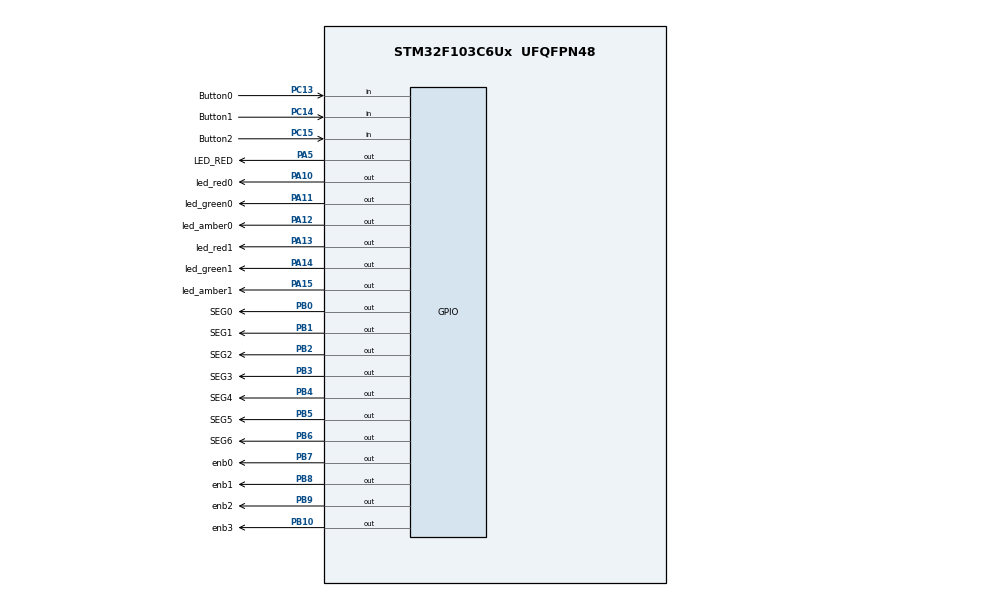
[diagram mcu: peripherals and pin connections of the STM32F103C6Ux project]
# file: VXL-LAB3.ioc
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Mcu.Family=STM32F1
Mcu.Name=STM32F103C6Ux
Mcu.Package=UFQFPN48
NVIC.PriorityGroup=NVIC_PRIORITYGROUP_4
NVIC.TIM2_IRQn=true\:0\:0\:false\:false\:true\:true\:true
PA10.GPIO_Label=led_red0
PA10.Signal=GPIO_Output
PA11.GPIO_Label=led_green0
PA11.Signal=GPIO_Output
PA12.GPIO_Label=led_amber0
PA12.Signal=GPIO_Output
PA13.GPIO_Label=led_red1
PA13.Signal=GPIO_Output
PA14.GPIO_Label=led_green1
PA14.Signal=GPIO_Output
PA15.GPIO_Label=led_amber1
PA15.Signal=GPIO_Output
PA5.GPIO_Label=LED_RED
PA5.Signal=GPIO_Output
PB0.GPIO_Label=SEG0
PB0.Signal=GPIO_Output
PB1.GPIO_Label=SEG1
PB1.Signal=GPIO_Output
PB10.GPIO_Label=enb3
PB10.Signal=GPIO_Output
PB2.GPIO_Label=SEG2
PB2.Signal=GPIO_Output
PB3.GPIO_Label=SEG3
PB3.Signal=GPIO_Output
PB4.GPIO_Label=SEG4
PB4.Signal=GPIO_Output
PB5.GPIO_Label=SEG5
PB5.Signal=GPIO_Output
PB6.GPIO_Label=SEG6
PB6.Signal=GPIO_Output
PB7.GPIO_Label=enb0
PB7.Signal=GPIO_Output
PB8.GPIO_Label=enb1
PB8.Signal=GPIO_Output
PB9.GPIO_Label=enb2
PB9.Signal=GPIO_Output
PC13-TAMPER-RTC.GPIO_Label=Button0
PC13-TAMPER-RTC.GPIO_PuPd=GPIO_PULLUP
PC13-TAMPER-RTC.Signal=GPIO_Input
PC14-OSC32_IN.GPIO_Label=Button1
PC14-OSC32_IN.GPIO_PuPd=GPIO_PULLUP
PC14-OSC32_IN.Signal=GPIO_Input
PC15-OSC32_OUT.GPIO_Label=Button2
PC15-OSC32_OUT.GPIO_PuPd=GPIO_PULLUP
PC15-OSC32_OUT.Signal=GPIO_Input
ProjectManager.HeapSize=0x200
ProjectManager.StackSize=0x400
ProjectManager.TargetToolchain=STM32CubeIDE
RCC.APB1Freq_Value=8000000
RCC.APB2Freq_Value=8000000
TIM2.Period=9
TIM2.Prescaler=7999
VP_SYS_VS_ND.Mode=No_Debug
VP_TIM2_VS_ClockSourceINT.Mode=Internal
board=custom

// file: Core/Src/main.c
/* USER CODE BEGIN Header */
/**
  ******************************************************************************
  * @file           : main.c
  * @brief          : Main program body
  ******************************************************************************
  * @attention
  *
  * <h2><center>&copy; Copyright (c) 2024 STMicroelectronics.
  * All rights reserved.</center></h2>
  *
  * This software component is licensed by ST under BSD 3-Clause license,
  * the "License"; You may not use this file except in compliance with the
  * License. You may obtain a copy of the License at:
  *                        opensource.org/licenses/BSD-3-Clause
  *
  ******************************************************************************
  */
/* USER CODE END Header */
#include "main.h"

/* USER CODE BEGIN Includes */
#include <global.h>
#include <fsm_automatic.h>
#include <fsm_manual.h>
#include <fsm_settings.h>
#include <scheduler.h>
/* USER CODE END Includes */

TIM_HandleTypeDef htim2;

void SystemClock_Config(void);
static void MX_GPIO_Init(void);
static void MX_TIM2_Init(void);

/* USER CODE BEGIN 0 */
void LEDRED(){
	HAL_GPIO_TogglePin(LED_RED_GPIO_Port, LED_RED_Pin);
}
/* USER CODE END 0 */

int main(void)
{

  /* MCU Configuration--------------------------------------------------------*/

  /* Reset of all peripherals, Initializes the Flash interface and the Systick. */
  HAL_Init();

  /* Configure the system clock */
  SystemClock_Config();

  /* Initialize all configured peripherals */
  MX_GPIO_Init();
  MX_TIM2_Init();
  /* USER CODE BEGIN 2 */
  HAL_TIM_Base_Start_IT(&htim2);

  /* USER CODE END 2 */

  /* Infinite loop */
  /* USER CODE BEGIN WHILE */
  SCH_Init();
  SCH_Add_Task(LEDRED,2000,1000); //index0
  SCH_Add_Task(fsm_confirm, 250, 10); //index1
  SCH_Add_Task(getKeyInput, 250, 10); //index2
  SCH_Add_Task(fsm_increase, 250, 10); //index3
  SCH_Add_Task(fsm_mode, 250, 10);
  SCH_Add_Task(fsm_INIT, 10, 0);
  while (1)
  {
	  SCH_Dispatch_Tasks();
    /* USER CODE END WHILE */

  }
}

void SystemClock_Config(void)
{
  RCC_OscInitTypeDef RCC_OscInitStruct = {0};
  RCC_ClkInitTypeDef RCC_ClkInitStruct = {0};

  /** Initializes the RCC Oscillators according to the specified parameters
  * in the RCC_OscInitTypeDef structure.
  */
  RCC_OscInitStruct.OscillatorType = RCC_OSCILLATORTYPE_HSI;
  RCC_OscInitStruct.HSIState = RCC_HSI_ON;
  RCC_OscInitStruct.HSICalibrationValue = RCC_HSICALIBRATION_DEFAULT;
  RCC_OscInitStruct.PLL.PLLState = RCC_PLL_NONE;
  if (HAL_RCC_OscConfig(&RCC_OscInitStruct) != HAL_OK)
  {
    Error_Handler();
  }
  /** Initializes the CPU, AHB and APB buses clocks
  */
  RCC_ClkInitStruct.ClockType = RCC_CLOCKTYPE_HCLK|RCC_CLOCKTYPE_SYSCLK
                              |RCC_CLOCKTYPE_PCLK1|RCC_CLOCKTYPE_PCLK2;
  RCC_ClkInitStruct.SYSCLKSource = RCC_SYSCLKSOURCE_HSI;
  RCC_ClkInitStruct.AHBCLKDivider = RCC_SYSCLK_DIV1;
  RCC_ClkInitStruct.APB1CLKDivider = RCC_HCLK_DIV1;
  RCC_ClkInitStruct.APB2CLKDivider = RCC_HCLK_DIV1;

  if (HAL_RCC_ClockConfig(&RCC_ClkInitStruct, FLASH_LATENCY_0) != HAL_OK)
  {
    Error_Handler();
  }
}

static void MX_TIM2_Init(void)
{

  TIM_ClockConfigTypeDef sClockSourceConfig = {0};
  TIM_MasterConfigTypeDef sMasterConfig = {0};

  htim2.Instance = TIM2;
  htim2.Init.Prescaler = 7999;
  htim2.Init.CounterMode = TIM_COUNTERMODE_UP;
  htim2.Init.Period = 9;
  htim2.Init.ClockDivision = TIM_CLOCKDIVISION_DIV1;
  htim2.Init.AutoReloadPreload = TIM_AUTORELOAD_PRELOAD_DISABLE;
  if (HAL_TIM_Base_Init(&htim2) != HAL_OK)
  {
    Error_Handler();
  }
  sClockSourceConfig.ClockSource = TIM_CLOCKSOURCE_INTERNAL;
  if (HAL_TIM_ConfigClockSource(&htim2, &sClockSourceConfig) != HAL_OK)
  {
    Error_Handler();
  }
  sMasterConfig.MasterOutputTrigger = TIM_TRGO_RESET;
  sMasterConfig.MasterSlaveMode = TIM_MASTERSLAVEMODE_DISABLE;
  if (HAL_TIMEx_MasterConfigSynchronization(&htim2, &sMasterConfig) != HAL_OK)
  {
    Error_Handler();
  }

}

static void MX_GPIO_Init(void)
{
  GPIO_InitTypeDef GPIO_InitStruct = {0};

  /* GPIO Ports Clock Enable */
  __HAL_RCC_GPIOC_CLK_ENABLE();
  __HAL_RCC_GPIOA_CLK_ENABLE();
  __HAL_RCC_GPIOB_CLK_ENABLE();

  /*Configure GPIO pin Output Level */
  HAL_GPIO_WritePin(GPIOA, LED_RED_Pin|led_red0_Pin|led_green0_Pin|led_amber0_Pin
                          |led_red1_Pin|led_green1_Pin|led_amber1_Pin, GPIO_PIN_RESET);

  /*Configure GPIO pin Output Level */
  HAL_GPIO_WritePin(GPIOB, SEG0_Pin|SEG1_Pin|SEG2_Pin|enb3_Pin
                          |SEG3_Pin|SEG4_Pin|SEG5_Pin|SEG6_Pin
                          |enb0_Pin|enb1_Pin|enb2_Pin, GPIO_PIN_RESET);

  /*Configure GPIO pins : Button0_Pin Button1_Pin Button2_Pin */
  GPIO_InitStruct.Pin = Button0_Pin|Button1_Pin|Button2_Pin;
  GPIO_InitStruct.Mode = GPIO_MODE_INPUT;
  GPIO_InitStruct.Pull = GPIO_PULLUP;
  HAL_GPIO_Init(GPIOC, &GPIO_InitStruct);

  /*Configure GPIO pins : LED_RED_Pin led_red0_Pin led_green0_Pin led_amber0_Pin
                           led_red1_Pin led_green1_Pin led_amber1_Pin */
  GPIO_InitStruct.Pin = LED_RED_Pin|led_red0_Pin|led_green0_Pin|led_amber0_Pin
                          |led_red1_Pin|led_green1_Pin|led_amber1_Pin;
  GPIO_InitStruct.Mode = GPIO_MODE_OUTPUT_PP;
  GPIO_InitStruct.Pull = GPIO_NOPULL;
  GPIO_InitStruct.Speed = GPIO_SPEED_FREQ_LOW;
  HAL_GPIO_Init(GPIOA, &GPIO_InitStruct);

  /*Configure GPIO pins : SEG0_Pin SEG1_Pin SEG2_Pin enb3_Pin
                           SEG3_Pin SEG4_Pin SEG5_Pin SEG6_Pin
                           enb0_Pin enb1_Pin enb2_Pin */
  GPIO_InitStruct.Pin = SEG0_Pin|SEG1_Pin|SEG2_Pin|enb3_Pin
                          |SEG3_Pin|SEG4_Pin|SEG5_Pin|SEG6_Pin
                          |enb0_Pin|enb1_Pin|enb2_Pin;
  GPIO_InitStruct.Mode = GPIO_MODE_OUTPUT_PP;
  GPIO_InitStruct.Pull = GPIO_NOPULL;
  GPIO_InitStruct.Speed = GPIO_SPEED_FREQ_LOW;
  HAL_GPIO_Init(GPIOB, &GPIO_InitStruct);

}

/* USER CODE BEGIN 4 */
void HAL_TIM_PeriodElapsedCallback(TIM_HandleTypeDef *htim){
	SCH_Update();
}

/* USER CODE END 4 */

void Error_Handler(void)
{
  __disable_irq();
  while (1)
  {
  }
}

/************************ (C) COPYRIGHT STMicroelectronics *****END OF FILE****/
